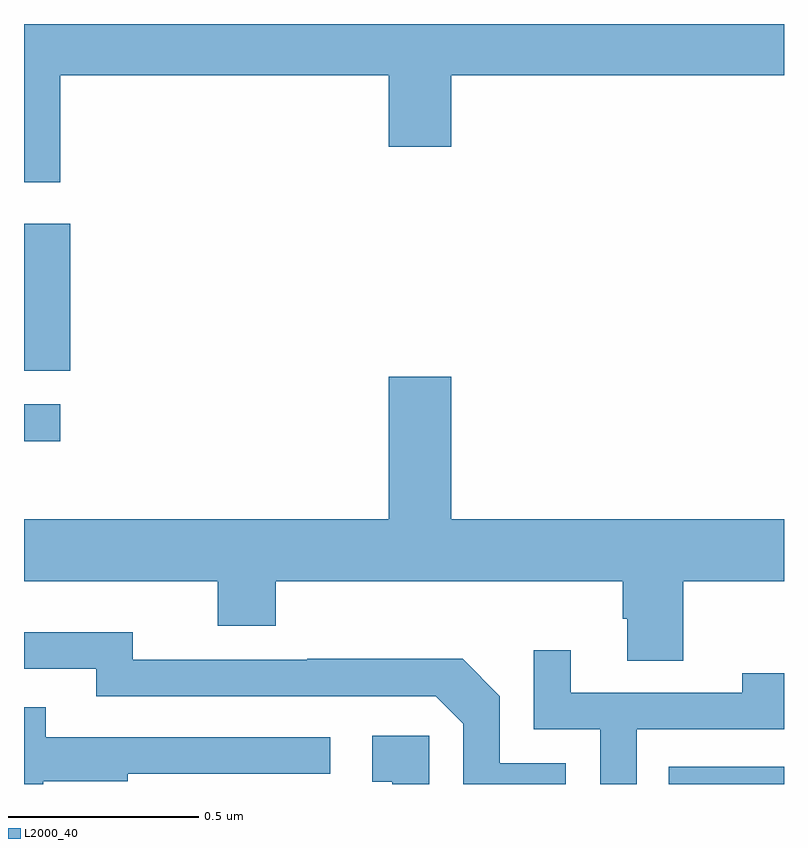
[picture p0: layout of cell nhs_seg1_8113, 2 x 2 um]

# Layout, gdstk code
import gdstk
lib = gdstk.Library(unit=1e-6, precision=1e-09)
def R(c, l, rs):  # rectangles x0, y0, x1, y1
    for r in rs: c.add(gdstk.rectangle(r[:2], r[2:], *l))
def P(c, l, *ps):  # polygons
    for p in ps: c.add(gdstk.Polygon(p, *l))
L2000_40 = (2000, 40)

nhs_seg1_8113 = lib.new_cell('nhs_seg1_8113')
R(nhs_seg1_8113, L2000_40, [(213.697,551.199,214,551.244), (212,552.101,212.095,552.198), (212,552.287,212.122,552.673)])
P(nhs_seg1_8113, L2000_40, [(212.096,553.064),(212.96,553.064),(212.96,552.876),(213.124,552.876),(213.124,553.064),(214,553.064),(214,553.199),(212,553.199),(212,552.783),(212.096,552.783)],
  [(213.735,551.732),(214,551.732),(214,551.896),(213.124,551.896),(213.124,552.271),(212.96,552.271),(212.96,551.896),(212,551.896),(212,551.732),(212.51,551.732),(212.51,551.615),(212.663,551.615),(212.663,551.732),(213.575,551.732),(213.575,551.634),(213.587,551.634),(213.587,551.524),(213.735,551.524)],
  [(213.426,551.253),(213.252,551.253),(213.252,551.43),(213.154,551.528),(212.746,551.528),(212.746,551.526),(212.286,551.526),(212.286,551.599),(212,551.599),(212,551.502),(212.19,551.502),(212.19,551.43),(213.084,551.43),(213.156,551.358),(213.156,551.199),(213.426,551.199)],
  [(213.612,551.343),(214,551.343),(214,551.491),(213.89,551.491),(213.89,551.439),(213.439,551.439),(213.439,551.551),(213.342,551.551),(213.342,551.343),(213.516,551.343),(213.516,551.199),(213.612,551.199)],
  [(212.05,551.206),(212.273,551.206),(212.273,551.226),(212.806,551.226),(212.806,551.322),(212.057,551.322),(212.057,551.401),(212,551.401),(212,551.199),(212.05,551.199)],
  [(213.066,551.326),(212.916,551.326),(212.916,551.205),(212.969,551.205),(212.969,551.199),(213.066,551.199)])

lib.write_gds('nhs_seg1_8113.gds')
